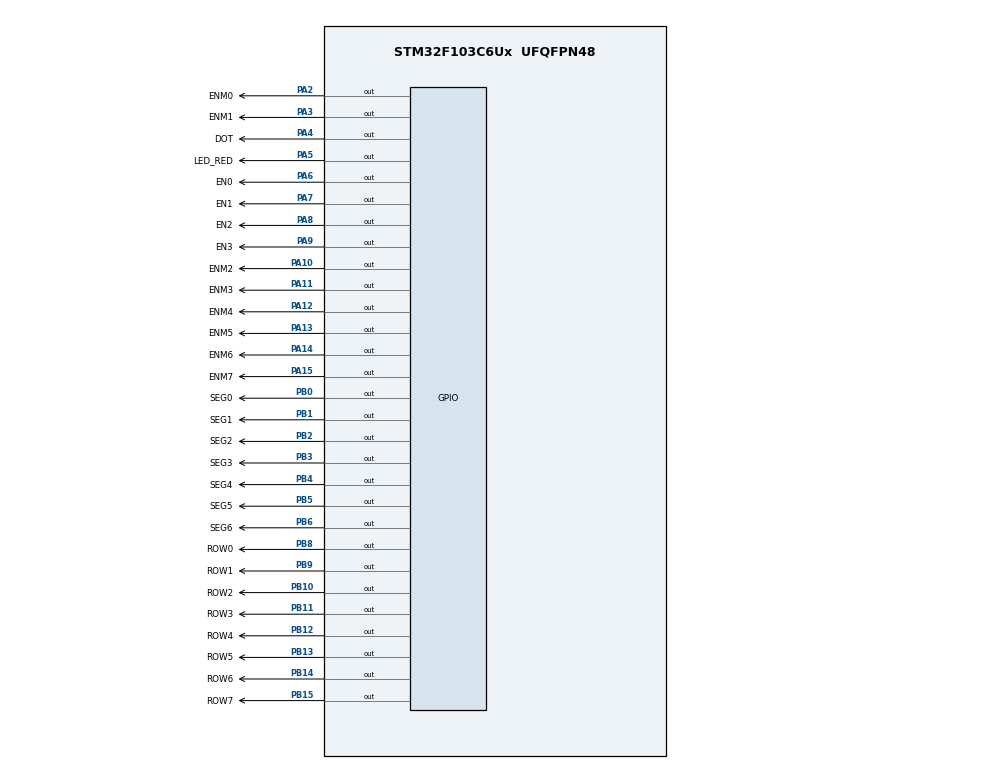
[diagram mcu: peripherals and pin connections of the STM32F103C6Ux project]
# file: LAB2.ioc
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Mcu.Family=STM32F1
Mcu.Name=STM32F103C6Ux
Mcu.Package=UFQFPN48
NVIC.PriorityGroup=NVIC_PRIORITYGROUP_4
NVIC.TIM2_IRQn=true\:0\:0\:false\:false\:true\:true\:true
PA10.GPIO_Label=ENM2
PA10.Signal=GPIO_Output
PA11.GPIO_Label=ENM3
PA11.Signal=GPIO_Output
PA12.GPIO_Label=ENM4
PA12.Signal=GPIO_Output
PA13.GPIO_Label=ENM5
PA13.Signal=GPIO_Output
PA14.GPIO_Label=ENM6
PA14.Signal=GPIO_Output
PA15.GPIO_Label=ENM7
PA15.Signal=GPIO_Output
PA2.GPIO_Label=ENM0
PA2.Signal=GPIO_Output
PA3.GPIO_Label=ENM1
PA3.Signal=GPIO_Output
PA4.GPIO_Label=DOT
PA4.Signal=GPIO_Output
PA5.GPIO_Label=LED_RED
PA5.Signal=GPIO_Output
PA6.GPIO_Label=EN0
PA6.Signal=GPIO_Output
PA7.GPIO_Label=EN1
PA7.Signal=GPIO_Output
PA8.GPIO_Label=EN2
PA8.Signal=GPIO_Output
PA9.GPIO_Label=EN3
PA9.Signal=GPIO_Output
PB0.GPIO_Label=SEG0
PB0.Signal=GPIO_Output
PB1.GPIO_Label=SEG1
PB1.Signal=GPIO_Output
PB10.GPIO_Label=ROW2
PB10.Signal=GPIO_Output
PB11.GPIO_Label=ROW3
PB11.Signal=GPIO_Output
PB12.GPIO_Label=ROW4
PB12.Signal=GPIO_Output
PB13.GPIO_Label=ROW5
PB13.Signal=GPIO_Output
PB14.GPIO_Label=ROW6
PB14.Signal=GPIO_Output
PB15.GPIO_Label=ROW7
PB15.Signal=GPIO_Output
PB2.GPIO_Label=SEG2
PB2.Signal=GPIO_Output
PB3.GPIO_Label=SEG3
PB3.Signal=GPIO_Output
PB4.GPIO_Label=SEG4
PB4.Signal=GPIO_Output
PB5.GPIO_Label=SEG5
PB5.Signal=GPIO_Output
PB6.GPIO_Label=SEG6
PB6.Signal=GPIO_Output
PB8.GPIO_Label=ROW0
PB8.Signal=GPIO_Output
PB9.GPIO_Label=ROW1
PB9.Signal=GPIO_Output
ProjectManager.HeapSize=0x200
ProjectManager.StackSize=0x400
ProjectManager.TargetToolchain=STM32CubeIDE
RCC.APB1Freq_Value=8000000
RCC.APB2Freq_Value=8000000
TIM2.Period=9
TIM2.Prescaler=7999
VP_SYS_VS_ND.Mode=No_Debug
VP_TIM2_VS_ClockSourceINT.Mode=Internal
board=custom

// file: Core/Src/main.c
/* USER CODE BEGIN Header */
/**
  ******************************************************************************
  * @file           : main.c
  * @brief          : Main program body
  ******************************************************************************
  * @attention
  *
  * <h2><center>&copy; Copyright (c) 2023 STMicroelectronics.
  * All rights reserved.</center></h2>
  *
  * This software component is licensed by ST under BSD 3-Clause license,
  * the "License"; You may not use this file except in compliance with the
  * License. You may obtain a copy of the License at:
  *                        opensource.org/licenses/BSD-3-Clause
  *
  ******************************************************************************
  */
/* USER CODE END Header */
#include "main.h"

TIM_HandleTypeDef htim2;

void SystemClock_Config(void);
static void MX_GPIO_Init(void);
static void MX_TIM2_Init(void);

/* USER CODE BEGIN 0 */
int timer1_flag = 0;
int counter1 = 0;
int timer2_flag = 0;
int counter2 = 0;
int timer3_flag = 0;
int counter3 = 0;
int timer4_flag = 0;
int counter4 = 0;
void setTimer1(int duration){
	counter1 = duration;
	timer1_flag = 0;
}
void setTimer2(int duration){
	counter2 = duration;
	timer2_flag = 0;
}
void setTimer3(int duration){
	counter3 = duration;
	timer3_flag = 0;
}

void setTimer4(int duration){
	counter4 = duration;
	timer4_flag = 0;
}

void timerRun(){
	if(counter1 > 0){
		counter1--;
		if(counter1 <= 0){
			timer1_flag = 1;
              }
	}
	if(counter2 > 0){
			counter2--;
			if(counter2 <= 0){
				timer2_flag = 1;
	              }
    }
	if(counter3 > 0){
			counter3--;
			if(counter3 <= 0){
				timer3_flag = 1;
	              }
   }
	if(counter4 > 0){
			counter4--;
			if(counter4 <= 0){
				timer4_flag = 1;
		             }
	}
}

void HAL_TIM_PeriodElapsedCallback (TIM_HandleTypeDef *htim2 ){
     timerRun();
}

int digit1;
int digit2;
int digit3;
int digit4;
int index_led = 0;
int led_buffer[4];
void updateClockBuffer(int a, int b){
     digit1=a/10;
     digit2=a%10;
     digit3=b/10;
     digit4=b%10;
     led_buffer[0]=digit1;
     led_buffer[1]=digit2;
     led_buffer[2]=digit3;
     led_buffer[3]=digit4;
}
void display7SEG (int n){
   switch(led_buffer[n]){
   case 0:
  	 // set Status
  		HAL_GPIO_WritePin(SEG0_GPIO_Port, SEG0_Pin, GPIO_PIN_RESET);
  		HAL_GPIO_WritePin(SEG1_GPIO_Port,SEG1_Pin,  GPIO_PIN_RESET);
  		HAL_GPIO_WritePin(SEG2_GPIO_Port, SEG2_Pin, GPIO_PIN_RESET);
  		HAL_GPIO_WritePin(SEG3_GPIO_Port, SEG3_Pin,GPIO_PIN_RESET);
  		HAL_GPIO_WritePin(SEG4_GPIO_Port, SEG4_Pin,GPIO_PIN_RESET);
  		HAL_GPIO_WritePin(SEG5_GPIO_Port, SEG5_Pin, GPIO_PIN_RESET );
  		HAL_GPIO_WritePin(SEG6_GPIO_Port, SEG6_Pin, GPIO_PIN_SET );
  		break;
   case 1:
	   HAL_GPIO_WritePin(SEG0_GPIO_Port, SEG0_Pin, GPIO_PIN_SET);
	   HAL_GPIO_WritePin(SEG1_GPIO_Port,SEG1_Pin,  GPIO_PIN_RESET);
	   HAL_GPIO_WritePin(SEG2_GPIO_Port, SEG2_Pin, GPIO_PIN_RESET);
	   HAL_GPIO_WritePin(SEG3_GPIO_Port, SEG3_Pin,GPIO_PIN_SET);
	   HAL_GPIO_WritePin(SEG4_GPIO_Port, SEG4_Pin,GPIO_PIN_SET);
	   HAL_GPIO_WritePin(SEG5_GPIO_Port, SEG5_Pin, GPIO_PIN_SET );
	   HAL_GPIO_WritePin(SEG6_GPIO_Port, SEG6_Pin, GPIO_PIN_SET );
 		break;
   case 2:
	   HAL_GPIO_WritePin(SEG0_GPIO_Port, SEG0_Pin, GPIO_PIN_RESET);
	   HAL_GPIO_WritePin(SEG1_GPIO_Port,SEG1_Pin,  GPIO_PIN_RESET);
	   HAL_GPIO_WritePin(SEG2_GPIO_Port, SEG2_Pin, GPIO_PIN_SET);
	   HAL_GPIO_WritePin(SEG3_GPIO_Port, SEG3_Pin,GPIO_PIN_RESET);
	   HAL_GPIO_WritePin(SEG4_GPIO_Port, SEG4_Pin,GPIO_PIN_RESET);
	   HAL_GPIO_WritePin(SEG5_GPIO_Port, SEG5_Pin, GPIO_PIN_SET );
	   HAL_GPIO_WritePin(SEG6_GPIO_Port, SEG6_Pin, GPIO_PIN_RESET );
 		break;
   case 3:
	   HAL_GPIO_WritePin(SEG0_GPIO_Port, SEG0_Pin, GPIO_PIN_RESET);
	   HAL_GPIO_WritePin(SEG1_GPIO_Port,SEG1_Pin,  GPIO_PIN_RESET);
	   HAL_GPIO_WritePin(SEG2_GPIO_Port, SEG2_Pin, GPIO_PIN_RESET);
	   HAL_GPIO_WritePin(SEG3_GPIO_Port, SEG3_Pin,GPIO_PIN_RESET);
	   HAL_GPIO_WritePin(SEG4_GPIO_Port, SEG4_Pin,GPIO_PIN_SET);
	   HAL_GPIO_WritePin(SEG5_GPIO_Port, SEG5_Pin, GPIO_PIN_SET );
	   HAL_GPIO_WritePin(SEG6_GPIO_Port, SEG6_Pin, GPIO_PIN_RESET );
	   break;
   case 4:
	   HAL_GPIO_WritePin(SEG0_GPIO_Port, SEG0_Pin, GPIO_PIN_SET);
	   HAL_GPIO_WritePin(SEG1_GPIO_Port,SEG1_Pin,  GPIO_PIN_RESET);
	   HAL_GPIO_WritePin(SEG2_GPIO_Port, SEG2_Pin, GPIO_PIN_RESET);
	   HAL_GPIO_WritePin(SEG3_GPIO_Port, SEG3_Pin,GPIO_PIN_SET);
	   HAL_GPIO_WritePin(SEG4_GPIO_Port, SEG4_Pin,GPIO_PIN_SET);
	   HAL_GPIO_WritePin(SEG5_GPIO_Port, SEG5_Pin, GPIO_PIN_RESET );
	   HAL_GPIO_WritePin(SEG6_GPIO_Port, SEG6_Pin, GPIO_PIN_RESET );
	   break;
   case 5:
	   HAL_GPIO_WritePin(SEG0_GPIO_Port, SEG0_Pin, GPIO_PIN_RESET);
	   HAL_GPIO_WritePin(SEG1_GPIO_Port,SEG1_Pin,  GPIO_PIN_SET);
	   HAL_GPIO_WritePin(SEG2_GPIO_Port, SEG2_Pin, GPIO_PIN_RESET);
	   HAL_GPIO_WritePin(SEG3_GPIO_Port, SEG3_Pin,GPIO_PIN_RESET);
	   HAL_GPIO_WritePin(SEG4_GPIO_Port, SEG4_Pin,GPIO_PIN_SET);
	   HAL_GPIO_WritePin(SEG5_GPIO_Port, SEG5_Pin, GPIO_PIN_RESET );
	   HAL_GPIO_WritePin(SEG6_GPIO_Port, SEG6_Pin, GPIO_PIN_RESET );
	   break;
   case 6:
	   HAL_GPIO_WritePin(SEG0_GPIO_Port, SEG0_Pin, GPIO_PIN_RESET);
	   HAL_GPIO_WritePin(SEG1_GPIO_Port,SEG1_Pin,  GPIO_PIN_SET);
	   HAL_GPIO_WritePin(SEG2_GPIO_Port, SEG2_Pin, GPIO_PIN_RESET);
	   HAL_GPIO_WritePin(SEG3_GPIO_Port, SEG3_Pin,GPIO_PIN_RESET);
	   HAL_GPIO_WritePin(SEG4_GPIO_Port, SEG4_Pin,GPIO_PIN_RESET);
	   HAL_GPIO_WritePin(SEG5_GPIO_Port, SEG5_Pin, GPIO_PIN_RESET );
	   HAL_GPIO_WritePin(SEG6_GPIO_Port, SEG6_Pin, GPIO_PIN_RESET );
	   break;
   case 7:
	   HAL_GPIO_WritePin(SEG0_GPIO_Port, SEG0_Pin, GPIO_PIN_RESET);
	   HAL_GPIO_WritePin(SEG1_GPIO_Port,SEG1_Pin,  GPIO_PIN_RESET);
	   HAL_GPIO_WritePin(SEG2_GPIO_Port, SEG2_Pin, GPIO_PIN_RESET);
	   HAL_GPIO_WritePin(SEG3_GPIO_Port, SEG3_Pin,GPIO_PIN_SET);
	   HAL_GPIO_WritePin(SEG4_GPIO_Port, SEG4_Pin,GPIO_PIN_SET);
	   HAL_GPIO_WritePin(SEG5_GPIO_Port, SEG5_Pin, GPIO_PIN_SET );
	   HAL_GPIO_WritePin(SEG6_GPIO_Port, SEG6_Pin, GPIO_PIN_SET );
	   break;
   case 8:
	   HAL_GPIO_WritePin(SEG0_GPIO_Port, SEG0_Pin, GPIO_PIN_RESET);
	   HAL_GPIO_WritePin(SEG1_GPIO_Port,SEG1_Pin,  GPIO_PIN_RESET);
	   HAL_GPIO_WritePin(SEG2_GPIO_Port, SEG2_Pin, GPIO_PIN_RESET);
	   HAL_GPIO_WritePin(SEG3_GPIO_Port, SEG3_Pin,GPIO_PIN_RESET);
	   HAL_GPIO_WritePin(SEG4_GPIO_Port, SEG4_Pin,GPIO_PIN_RESET);
	   HAL_GPIO_WritePin(SEG5_GPIO_Port, SEG5_Pin, GPIO_PIN_RESET );
	   HAL_GPIO_WritePin(SEG6_GPIO_Port, SEG6_Pin, GPIO_PIN_RESET );
	   break;
   case 9:
	   HAL_GPIO_WritePin(SEG0_GPIO_Port, SEG0_Pin, GPIO_PIN_RESET);
	   HAL_GPIO_WritePin(SEG1_GPIO_Port,SEG1_Pin,  GPIO_PIN_RESET);
	   HAL_GPIO_WritePin(SEG2_GPIO_Port, SEG2_Pin, GPIO_PIN_RESET);
	   HAL_GPIO_WritePin(SEG3_GPIO_Port, SEG3_Pin,GPIO_PIN_RESET);
	   HAL_GPIO_WritePin(SEG4_GPIO_Port, SEG4_Pin,GPIO_PIN_SET);
	   HAL_GPIO_WritePin(SEG5_GPIO_Port, SEG5_Pin, GPIO_PIN_RESET );
	   HAL_GPIO_WritePin(SEG6_GPIO_Port, SEG6_Pin, GPIO_PIN_RESET );
	   break;
           }
   }

int updateled_buffer(int index_led){
	switch(index_led){
	case 0:
		   HAL_GPIO_WritePin(EN0_GPIO_Port, EN0_Pin, GPIO_PIN_RESET );
		   HAL_GPIO_WritePin(EN1_GPIO_Port, EN1_Pin, GPIO_PIN_SET );
		   HAL_GPIO_WritePin(EN2_GPIO_Port, EN2_Pin, GPIO_PIN_SET );
		   HAL_GPIO_WritePin(EN3_GPIO_Port, EN3_Pin, GPIO_PIN_SET );
		   display7SEG(index_led);
		   break;
	case 1:
		   HAL_GPIO_WritePin(EN0_GPIO_Port, EN0_Pin, GPIO_PIN_SET );
		   HAL_GPIO_WritePin(EN1_GPIO_Port, EN1_Pin,GPIO_PIN_RESET );
		   HAL_GPIO_WritePin(EN2_GPIO_Port, EN2_Pin, GPIO_PIN_SET );
		   HAL_GPIO_WritePin(EN3_GPIO_Port, EN3_Pin, GPIO_PIN_SET );
		   display7SEG(index_led);
		   break;
	case 2:
		   HAL_GPIO_WritePin(EN0_GPIO_Port, EN0_Pin, GPIO_PIN_SET );
		   HAL_GPIO_WritePin(EN1_GPIO_Port, EN1_Pin, GPIO_PIN_SET );
		   HAL_GPIO_WritePin(EN2_GPIO_Port, EN2_Pin, GPIO_PIN_RESET );
		   HAL_GPIO_WritePin(EN3_GPIO_Port, EN3_Pin, GPIO_PIN_SET );
		   display7SEG(index_led);
		   break;
	case 3:
		   HAL_GPIO_WritePin(EN0_GPIO_Port, EN0_Pin, GPIO_PIN_SET );
		   HAL_GPIO_WritePin(EN1_GPIO_Port, EN1_Pin, GPIO_PIN_SET );
		   HAL_GPIO_WritePin(EN2_GPIO_Port, EN2_Pin, GPIO_PIN_SET );
		   HAL_GPIO_WritePin(EN3_GPIO_Port, EN3_Pin, GPIO_PIN_RESET);
		   display7SEG(index_led);
		   break;
	default:
		break;
	}
}

const int MAX_LED_MATRIX = 8;
int index_led_matrix = 0;
uint8_t matrix_buffer [8] = {0xff,0x03, 0x01, 0xc8, 0xc8, 0x01,0x03, 0xff};

void SCAN_LED_MATRIX(int index){

	  HAL_GPIO_WritePin(ROW0_GPIO_Port, ROW0_Pin, GPIO_PIN_RESET);
	  HAL_GPIO_WritePin(ROW1_GPIO_Port, ROW1_Pin, GPIO_PIN_RESET);
	  HAL_GPIO_WritePin(ROW2_GPIO_Port, ROW2_Pin, GPIO_PIN_RESET);
	  HAL_GPIO_WritePin(ROW3_GPIO_Port, ROW3_Pin, GPIO_PIN_RESET);
	  HAL_GPIO_WritePin(ROW4_GPIO_Port, ROW4_Pin, GPIO_PIN_RESET);
	  HAL_GPIO_WritePin(ROW5_GPIO_Port, ROW5_Pin, GPIO_PIN_RESET);
	  HAL_GPIO_WritePin(ROW6_GPIO_Port, ROW6_Pin, GPIO_PIN_RESET);
	  HAL_GPIO_WritePin(ROW7_GPIO_Port, ROW7_Pin, GPIO_PIN_RESET);

	  uint8_t row_value = matrix_buffer[index];

	  if(row_value & 0x01) HAL_GPIO_WritePin(ROW0_GPIO_Port, ROW0_Pin, GPIO_PIN_SET );
	  if(row_value & 0x02) HAL_GPIO_WritePin(ROW1_GPIO_Port, ROW1_Pin, GPIO_PIN_SET );
	  if(row_value & 0x04) HAL_GPIO_WritePin(ROW2_GPIO_Port, ROW2_Pin, GPIO_PIN_SET );
	  if(row_value & 0x08) HAL_GPIO_WritePin(ROW3_GPIO_Port, ROW3_Pin, GPIO_PIN_SET );
	  if(row_value & 0x10) HAL_GPIO_WritePin(ROW4_GPIO_Port, ROW4_Pin, GPIO_PIN_SET );
	  if(row_value & 0x20) HAL_GPIO_WritePin(ROW5_GPIO_Port, ROW5_Pin, GPIO_PIN_SET );
	  if(row_value & 0x40) HAL_GPIO_WritePin(ROW6_GPIO_Port, ROW6_Pin, GPIO_PIN_SET );
	  if(row_value & 0x80) HAL_GPIO_WritePin(ROW7_GPIO_Port, ROW7_Pin, GPIO_PIN_SET );

}

uint8_t matrix_buffer_col [8] = {0x01,0x02,0x04,0x08,0x10,0x20,0x40,0x80};
void SCAN_LED_MATRIX_COL(int index){
	  HAL_GPIO_WritePin(ENM0_GPIO_Port, ENM0_Pin, GPIO_PIN_SET);
	  HAL_GPIO_WritePin(ENM1_GPIO_Port, ENM1_Pin, GPIO_PIN_SET);
	  HAL_GPIO_WritePin(ENM2_GPIO_Port, ENM2_Pin, GPIO_PIN_SET);
	  HAL_GPIO_WritePin(ENM3_GPIO_Port, ENM3_Pin, GPIO_PIN_SET);
	  HAL_GPIO_WritePin(ENM4_GPIO_Port, ENM4_Pin, GPIO_PIN_SET);
	  HAL_GPIO_WritePin(ENM5_GPIO_Port, ENM5_Pin, GPIO_PIN_SET);
	  HAL_GPIO_WritePin(ENM6_GPIO_Port, ENM6_Pin, GPIO_PIN_SET);
	  HAL_GPIO_WritePin(ENM7_GPIO_Port, ENM7_Pin, GPIO_PIN_SET);

	  uint8_t col_value = matrix_buffer_col[index]>>1;
	  if(col_value & 0x01)  HAL_GPIO_WritePin(ENM0_GPIO_Port, ENM0_Pin,  GPIO_PIN_RESET);
	  if(col_value & 0x02)  HAL_GPIO_WritePin(ENM1_GPIO_Port, ENM1_Pin,  GPIO_PIN_RESET);
	  if(col_value & 0x04)  HAL_GPIO_WritePin(ENM2_GPIO_Port, ENM2_Pin,  GPIO_PIN_RESET);
	  if(col_value & 0x08)  HAL_GPIO_WritePin(ENM3_GPIO_Port, ENM3_Pin,  GPIO_PIN_RESET);
	  if(col_value & 0x10)  HAL_GPIO_WritePin(ENM4_GPIO_Port, ENM4_Pin,  GPIO_PIN_RESET);
	  if(col_value & 0x20)  HAL_GPIO_WritePin(ENM5_GPIO_Port, ENM5_Pin,  GPIO_PIN_RESET);
	  if(col_value & 0x40)  HAL_GPIO_WritePin(ENM6_GPIO_Port, ENM6_Pin,  GPIO_PIN_RESET);
	  if(col_value & 0x80)  HAL_GPIO_WritePin(ENM7_GPIO_Port, ENM7_Pin,  GPIO_PIN_RESET);
}
void updateLEDMatrix (int index ){
switch ( index ) {
   case 0:
       SCAN_LED_MATRIX_COL(index);
       SCAN_LED_MATRIX(index);
       break ;
   case 1:
   	SCAN_LED_MATRIX_COL(index);
   	SCAN_LED_MATRIX(index);
       break ;
   case 2:
   	SCAN_LED_MATRIX_COL(index);
       SCAN_LED_MATRIX(index);
       break ;
   case 3:
   	SCAN_LED_MATRIX_COL(index);
   	SCAN_LED_MATRIX(index);
       break ;
   case 4:
   	SCAN_LED_MATRIX_COL(index);
   	SCAN_LED_MATRIX(index);
       break ;
   case 5:
   	SCAN_LED_MATRIX_COL(index);
   	SCAN_LED_MATRIX(index);
       break ;
   case 6:
   	SCAN_LED_MATRIX_COL(index);
   	SCAN_LED_MATRIX(index);
       break ;
   case 7:
   	SCAN_LED_MATRIX_COL(index);
   	SCAN_LED_MATRIX(index);
       break ;
        default :
        break ;
     }
}

/* USER CODE END 0 */

int main(void)
{

  /* MCU Configuration--------------------------------------------------------*/

  /* Reset of all peripherals, Initializes the Flash interface and the Systick. */
  HAL_Init();

  /* Configure the system clock */
  SystemClock_Config();

  /* Initialize all configured peripherals */
  MX_GPIO_Init();
  MX_TIM2_Init();
  /* USER CODE BEGIN 2 */
  HAL_TIM_Base_Start_IT (& htim2 );
  /* USER CODE END 2 */

  /* Infinite loop */
  /* USER CODE BEGIN WHILE */

setTimer1(1);
setTimer2(1);
setTimer3(1);
setTimer4(1);
int hour=0,minute=8,second=50;
  while (1)
  {
	  if(timer1_flag==1){
		  second++;
		  updateClockBuffer(hour, minute);
		  setTimer1(100);

	  if(second>=60){
		  minute++;
		  second=0;

	  if(minute>=60){
		  hour++;
		  minute=0;
	  }
	  if(hour>=24){
		  hour=0;
	  }}}

	  if(timer2_flag==1){
		  updateled_buffer(index_led);
	  if(index_led>=3){
		  index_led=0;
	  }
	  else{
		  index_led++;
	  }
	  setTimer2(10);}
	  if(timer3_flag==1){
		  HAL_GPIO_TogglePin(DOT_GPIO_Port, DOT_Pin);
		  setTimer3(100);
	  }

	  if(timer4_flag == 1){
	 	   updateLEDMatrix(index_led_matrix++);
	  if(index_led_matrix == MAX_LED_MATRIX){
	 	   index_led_matrix = 0;
	 	          	  }
	 	   setTimer4(5);
	  }

    /* USER CODE END WHILE */

  }
}

void SystemClock_Config(void)
{
  RCC_OscInitTypeDef RCC_OscInitStruct = {0};
  RCC_ClkInitTypeDef RCC_ClkInitStruct = {0};

  /** Initializes the RCC Oscillators according to the specified parameters
  * in the RCC_OscInitTypeDef structure.
  */
  RCC_OscInitStruct.OscillatorType = RCC_OSCILLATORTYPE_HSI;
  RCC_OscInitStruct.HSIState = RCC_HSI_ON;
  RCC_OscInitStruct.HSICalibrationValue = RCC_HSICALIBRATION_DEFAULT;
  RCC_OscInitStruct.PLL.PLLState = RCC_PLL_NONE;
  if (HAL_RCC_OscConfig(&RCC_OscInitStruct) != HAL_OK)
  {
    Error_Handler();
  }
  /** Initializes the CPU, AHB and APB buses clocks
  */
  RCC_ClkInitStruct.ClockType = RCC_CLOCKTYPE_HCLK|RCC_CLOCKTYPE_SYSCLK
                              |RCC_CLOCKTYPE_PCLK1|RCC_CLOCKTYPE_PCLK2;
  RCC_ClkInitStruct.SYSCLKSource = RCC_SYSCLKSOURCE_HSI;
  RCC_ClkInitStruct.AHBCLKDivider = RCC_SYSCLK_DIV1;
  RCC_ClkInitStruct.APB1CLKDivider = RCC_HCLK_DIV1;
  RCC_ClkInitStruct.APB2CLKDivider = RCC_HCLK_DIV1;

  if (HAL_RCC_ClockConfig(&RCC_ClkInitStruct, FLASH_LATENCY_0) != HAL_OK)
  {
    Error_Handler();
  }
}

static void MX_TIM2_Init(void)
{

  TIM_ClockConfigTypeDef sClockSourceConfig = {0};
  TIM_MasterConfigTypeDef sMasterConfig = {0};

  htim2.Instance = TIM2;
  htim2.Init.Prescaler = 7999;
  htim2.Init.CounterMode = TIM_COUNTERMODE_UP;
  htim2.Init.Period = 9;
  htim2.Init.ClockDivision = TIM_CLOCKDIVISION_DIV1;
  htim2.Init.AutoReloadPreload = TIM_AUTORELOAD_PRELOAD_DISABLE;
  if (HAL_TIM_Base_Init(&htim2) != HAL_OK)
  {
    Error_Handler();
  }
  sClockSourceConfig.ClockSource = TIM_CLOCKSOURCE_INTERNAL;
  if (HAL_TIM_ConfigClockSource(&htim2, &sClockSourceConfig) != HAL_OK)
  {
    Error_Handler();
  }
  sMasterConfig.MasterOutputTrigger = TIM_TRGO_RESET;
  sMasterConfig.MasterSlaveMode = TIM_MASTERSLAVEMODE_DISABLE;
  if (HAL_TIMEx_MasterConfigSynchronization(&htim2, &sMasterConfig) != HAL_OK)
  {
    Error_Handler();
  }

}

static void MX_GPIO_Init(void)
{
  GPIO_InitTypeDef GPIO_InitStruct = {0};

  /* GPIO Ports Clock Enable */
  __HAL_RCC_GPIOA_CLK_ENABLE();
  __HAL_RCC_GPIOB_CLK_ENABLE();

  /*Configure GPIO pin Output Level */
  HAL_GPIO_WritePin(GPIOA, ENM0_Pin|ENM1_Pin|DOT_Pin|LED_RED_Pin
                          |EN0_Pin|EN1_Pin|EN2_Pin|EN3_Pin
                          |ENM2_Pin|ENM3_Pin|ENM4_Pin|ENM5_Pin
                          |ENM6_Pin|ENM7_Pin, GPIO_PIN_RESET);

  /*Configure GPIO pin Output Level */
  HAL_GPIO_WritePin(GPIOB, SEG0_Pin|SEG1_Pin|SEG2_Pin|ROW2_Pin
                          |ROW3_Pin|ROW4_Pin|ROW5_Pin|ROW6_Pin
                          |ROW7_Pin|SEG3_Pin|SEG4_Pin|SEG5_Pin
                          |SEG6_Pin|ROW0_Pin|ROW1_Pin, GPIO_PIN_RESET);

  /*Configure GPIO pins : ENM0_Pin ENM1_Pin DOT_Pin LED_RED_Pin
                           EN0_Pin EN1_Pin EN2_Pin EN3_Pin
                           ENM2_Pin ENM3_Pin ENM4_Pin ENM5_Pin
                           ENM6_Pin ENM7_Pin */
  GPIO_InitStruct.Pin = ENM0_Pin|ENM1_Pin|DOT_Pin|LED_RED_Pin
                          |EN0_Pin|EN1_Pin|EN2_Pin|EN3_Pin
                          |ENM2_Pin|ENM3_Pin|ENM4_Pin|ENM5_Pin
                          |ENM6_Pin|ENM7_Pin;
  GPIO_InitStruct.Mode = GPIO_MODE_OUTPUT_PP;
  GPIO_InitStruct.Pull = GPIO_NOPULL;
  GPIO_InitStruct.Speed = GPIO_SPEED_FREQ_LOW;
  HAL_GPIO_Init(GPIOA, &GPIO_InitStruct);

  /*Configure GPIO pins : SEG0_Pin SEG1_Pin SEG2_Pin ROW2_Pin
                           ROW3_Pin ROW4_Pin ROW5_Pin ROW6_Pin
                           ROW7_Pin SEG3_Pin SEG4_Pin SEG5_Pin
                           SEG6_Pin ROW0_Pin ROW1_Pin */
  GPIO_InitStruct.Pin = SEG0_Pin|SEG1_Pin|SEG2_Pin|ROW2_Pin
                          |ROW3_Pin|ROW4_Pin|ROW5_Pin|ROW6_Pin
                          |ROW7_Pin|SEG3_Pin|SEG4_Pin|SEG5_Pin
                          |SEG6_Pin|ROW0_Pin|ROW1_Pin;
  GPIO_InitStruct.Mode = GPIO_MODE_OUTPUT_PP;
  GPIO_InitStruct.Pull = GPIO_NOPULL;
  GPIO_InitStruct.Speed = GPIO_SPEED_FREQ_LOW;
  HAL_GPIO_Init(GPIOB, &GPIO_InitStruct);

}

void Error_Handler(void)
{
  __disable_irq();
  while (1)
  {
  }
}

/************************ (C) COPYRIGHT STMicroelectronics *****END OF FILE****/
